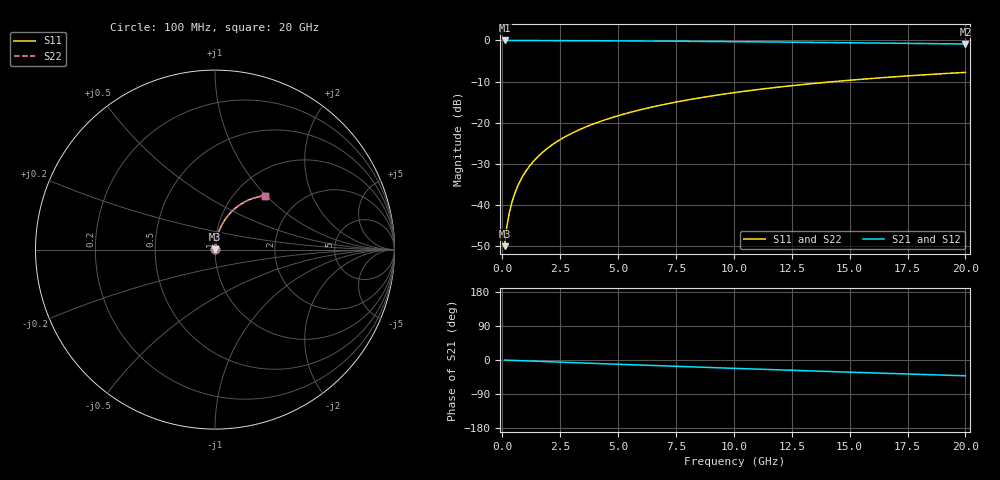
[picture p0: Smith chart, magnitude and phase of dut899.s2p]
! Touchstone file exported from HFSS 2026.1.0
!  File:  C:/ffzhzh/LocalFiles/Ansys_Project_Files/temp_train_BSMRDL_899_1783171365_51560.aedt
!  Generated:  09:24:01 PM Jul  4, 2026
!  Design:  BSMRDL
!  Project:  temp_train_BSMRDL_899_1783171365_51560
! Variables:
!  h_bsmrdl = 5.86um
!  h_ox = 20um
!  h_rdl = 5um
!  h_sub = 80um
!  h_tmrdl = 5um
!  h_tsv = 80um
!  h_via = 3um
!  l_bsmrdl = 586.29um
!  l_sub = 986.29um
!  l_tmrdl = 200um
!  m_sub = 200um
!  pitch = 59.8um
!  r_tsv = 6um
!  s_tmrdl = 10um
!  w_bsmrdl = 22.37um
!  w_sub = 500um
!  w_tmrdl = 12um
!  x_tsv_center1 = 206um
!  x_tsv_center2 = 814.66um
!  x_tsv_center3 = 1026.66um
!  x_tsv_center4 = 1635.32um
!  x_tsv_center5 = 1847.32um
!  x_tsv_center6 = 2455.98um
# GHz S MA R 50.000000
! Terminal data exported
! Port[1] = BSM_RDL1_1_T1
! Port[2] = BSM_RDL1_1_T2
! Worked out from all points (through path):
!   200 points, 100 MHz to 20 GHz, reference 50 ohm
!   highest |S21| = -0.02 dB at 100 MHz (marker M1); lowest = -0.9 dB at 20 GHz (marker M2)
!   group delay of S21, straight-line fit = 5.79 ps
!   lowest |S11| = -49.9 dB at 100 MHz (marker M3), VSWR 1.01, Z = 50.2 + j0.267 ohm
!   |S11| at or under -10 dB: start of sweep to 14.32 GHz
!   |S22| runs from -49.9 to -7.8 dB; largest |S21 - S12| = 2.1e-15
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0.1  0.003182 56.8  0.9983 -0.2  0.9983 -0.2  0.003182 56.8
! Gamma 0 0 0 0
! Port Impedance 50 0 50 0
0.2  0.00555 70.2  0.9981 -0.5  0.9981 -0.5  0.00555 70.2
0.3  0.007989 75.4  0.9981 -0.7  0.9981 -0.7  0.007989 75.4
0.4  0.01045 78.2  0.998 -0.9  0.998 -0.9  0.01045 78.2
0.5  0.01293 79.9  0.9979 -1.2  0.9979 -1.2  0.01293 79.9
0.7  0.01792 81.7  0.9977 -1.6  0.9977 -1.6  0.01792 81.7
0.8  0.02042 82.1  0.9977 -1.8  0.9977 -1.8  0.02042 82.1
1  0.02543 82.6  0.9974 -2.3  0.9974 -2.3  0.02543 82.6
1.2  0.03042 82.8  0.9972 -2.8  0.9972 -2.8  0.03042 82.8
1.4  0.03541 82.8  0.9969 -3.2  0.9969 -3.2  0.03541 82.8
1.7  0.04285 82.5  0.9964 -3.9  0.9964 -3.9  0.04285 82.5
2  0.05025 82.1  0.9959 -4.6  0.9959 -4.6  0.05025 82.1
2.7  0.06734 80.9  0.9943 -6.2  0.9943 -6.2  0.06734 80.9
3.5  0.08656 79.4  0.9922 -7.9  0.9922 -7.9  0.08656 79.4
4.2  0.1031 78.0  0.9902 -9.5  0.9902 -9.5  0.1031 78.0
5  0.1218 76.4  0.9876 -11.3  0.9876 -11.3  0.1218 76.4
6.8  0.1628 72.8  0.9808 -15.2  0.9808 -15.2  0.1628 72.8
8.3  0.1959 69.7  0.9742 -18.4  0.9742 -18.4  0.1959 69.7
10.1  0.2341 66.1  0.9652 -22.2  0.9652 -22.2  0.2341 66.1
13.4  0.2993 59.5  0.9463 -29.0  0.9463 -29.0  0.2993 59.5
16.7  0.3577 53.2  0.9254 -35.5  0.9254 -35.5  0.3577 53.2
20  0.409 47.2  0.9038 -41.6  0.9038 -41.6  0.409 47.1
